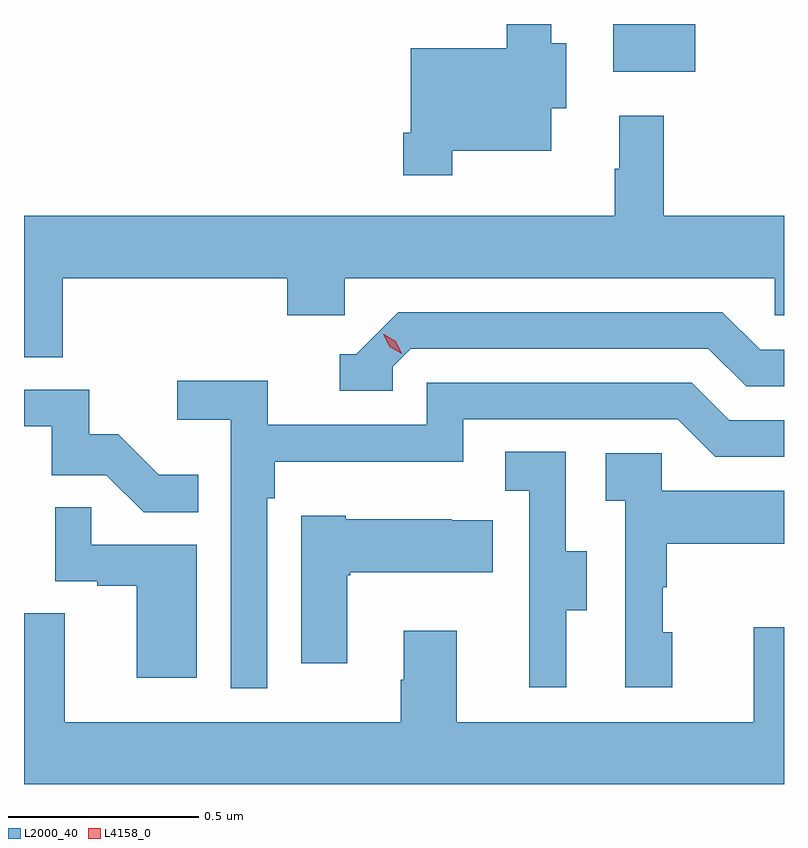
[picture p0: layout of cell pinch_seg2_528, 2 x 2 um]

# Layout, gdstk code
import gdstk
lib = gdstk.Library(unit=1e-6, precision=1e-09)
def R(c, l, rs):  # rectangles x0, y0, x1, y1
    for r in rs: c.add(gdstk.rectangle(r[:2], r[2:], *l))
def P(c, l, *ps):  # polygons
    for p in ps: c.add(gdstk.Polygon(p, *l))
L2000_40 = (2000, 40)
L4158_0 = (4158, 0)

pinch_seg2_528 = lib.new_cell('pinch_seg2_528')
R(pinch_seg2_528, L2000_40, [(1010.429,600.227,1010.644,600.353)])
P(pinch_seg2_528, L2000_40, [(1010.005,600.02),(1010.266,600.02),(1010.266,600.131),(1010.305,600.131),(1010.305,600.302),(1010.266,600.302),(1010.266,600.353),(1010.149,600.353),(1010.149,600.289),(1009.896,600.289),(1009.896,600.067),(1009.876,600.067),(1009.876,599.955),(1010.005,599.955)],
  [(1008.98,599.684),(1009.571,599.684),(1009.571,599.586),(1009.722,599.586),(1009.722,599.684),(1010.853,599.684),(1010.853,599.586),(1010.878,599.586),(1010.878,599.848),(1010.561,599.848),(1010.561,600.112),(1010.444,600.112),(1010.444,599.972),(1010.433,599.972),(1010.433,599.848),(1008.878,599.848),(1008.878,599.476),(1008.98,599.476)],
  [(1009.848,599.451),(1009.896,599.499),(1010.679,599.499),(1010.778,599.4),(1010.878,599.4),(1010.878,599.496),(1010.815,599.496),(1010.716,599.595),(1009.863,599.595),(1009.752,599.484),(1009.709,599.484),(1009.709,599.388),(1009.848,599.388)],
  [(1009.518,599.105),(1009.538,599.105),(1009.538,599.201),(1010.034,599.201),(1010.034,599.313),(1010.598,599.313),(1010.697,599.214),(1010.878,599.214),(1010.878,599.31),(1010.734,599.31),(1010.635,599.409),(1009.938,599.409),(1009.938,599.298),(1009.52,599.298),(1009.52,599.414),(1009.281,599.414),(1009.281,599.312),(1009.422,599.312),(1009.422,598.605),(1009.518,598.605)],
  [(1009.337,599.167),(1009.233,599.167),(1009.126,599.274),(1009.05,599.274),(1009.05,599.391),(1008.878,599.391),(1008.878,599.295),(1008.951,599.295),(1008.951,599.166),(1009.095,599.166),(1009.193,599.068),(1009.337,599.068)],
  [(1010.305,598.81),(1010.359,598.81),(1010.359,598.965),(1010.304,598.965),(1010.304,599.228),(1010.145,599.228),(1010.145,599.125),(1010.208,599.125),(1010.208,598.821),(1010.207,598.821),(1010.207,598.608),(1010.305,598.608)],
  [(1010.584,598.752),(1010.559,598.752),(1010.559,598.871),(1010.569,598.871),(1010.569,598.985),(1010.878,598.985),(1010.878,599.125),(1010.556,599.125),(1010.556,599.223),(1010.409,599.223),(1010.409,599.099),(1010.46,599.099),(1010.46,598.608),(1010.584,598.608)],
  [(1009.333,598.983),(1009.055,598.983),(1009.055,599.081),(1008.96,599.081),(1008.96,598.887),(1009.071,598.887),(1009.071,598.875),(1009.175,598.875),(1009.175,598.632),(1009.333,598.632)],
  [(1009.729,598.903),(1009.737,598.903),(1009.737,598.91),(1010.111,598.91),(1010.111,599.047),(1010.003,599.047),(1010.003,599.05),(1009.725,599.05),(1009.725,599.059),(1009.607,599.059),(1009.607,598.671),(1009.729,598.671)],
  [(1010.878,598.765),(1010.798,598.765),(1010.798,598.516),(1010.017,598.516),(1010.017,598.756),(1009.877,598.756),(1009.877,598.628),(1009.87,598.628),(1009.87,598.516),(1008.985,598.516),(1008.985,598.802),(1008.878,598.802),(1008.878,598.353),(1010.878,598.353)])
P(pinch_seg2_528, L4158_0, [(1009.872,599.485),(1009.841,599.504),(1009.824,599.537),(1009.824,599.537),(1009.825,599.537),(1009.856,599.518),(1009.872,599.485),(1009.872,599.485)])

lib.write_gds('pinch_seg2_528.gds')
